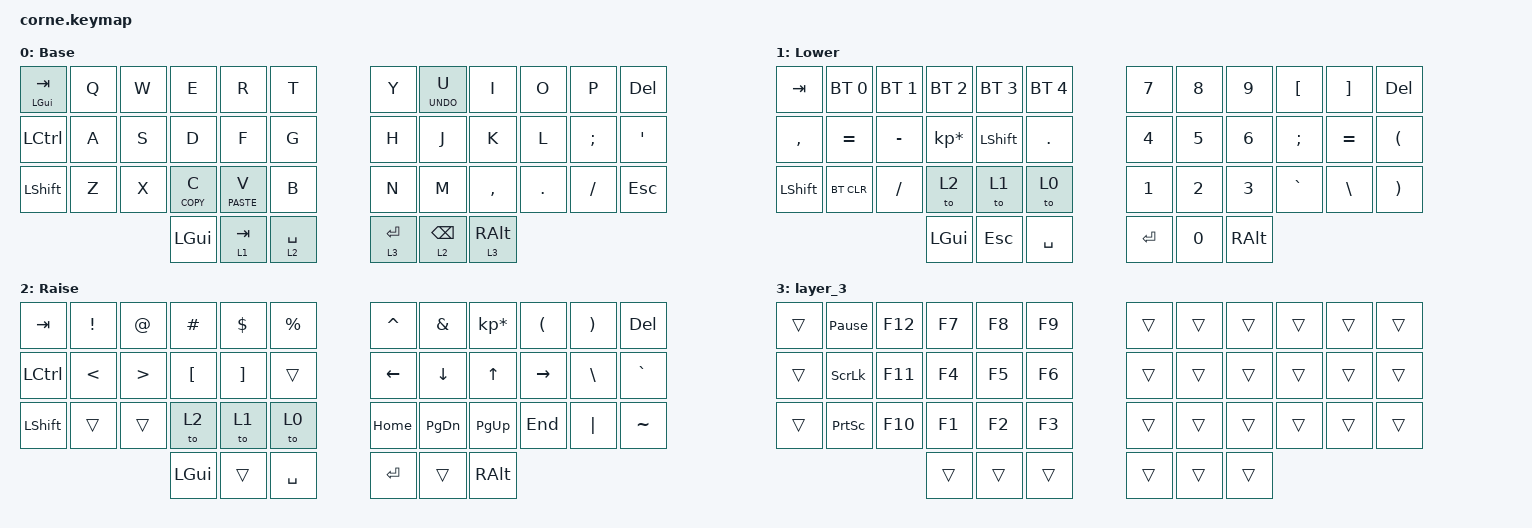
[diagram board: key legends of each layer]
/*
 * Copyright (c) 2020 The ZMK Contributors
 *
 * SPDX-License-Identifier: MIT
 */

#include <behaviors.dtsi>
#include <dt-bindings/zmk/bt.h>
#include <dt-bindings/zmk/keys.h>

&mt {
    flavor = "tap-preferred";
};

&lt {
};

/ {
    keymap {
        compatible = "zmk,keymap";

        default_layer {
            // -----------------------------------------------------------------------------------------
            // |  TAB |  Q  |  W  |  E  |  R  |  T  |   |  Y  |  U   |  I  |  O  |  P  | BKSP |
            // | CTRL |  A  |  S  |  D  |  F  |  G  |   |  H  |  J   |  K  |  L  |  ;  |  '   |
            // | SHFT |  Z  |  X  |  C  |  V  |  B  |   |  N  |  M   |  ,  |  .  |  /  | ESC  |
            //                    | GUI | LWR | SPC |   | ENT | RSE  | ALT |

            label = "Base";
            bindings = <
&mt LGUI TAB  &kp Q  &kp W  &kp E         &kp R          &kp T          &kp Y         &mt K_UNDO U     &kp I       &kp O    &kp P     &kp DELETE
&kp LCTRL     &kp A  &kp S  &kp D         &kp F          &kp G          &kp H         &kp J            &kp K       &kp L    &kp SEMI  &kp SQT
&kp LSHFT     &kp Z  &kp X  &mt K_COPY C  &mt K_PASTE V  &kp B          &kp N         &kp M            &kp COMMA   &kp DOT  &kp FSLH  &kp ESC
                            &kp LGUI      &lt 1 TAB      &lt 2 SPACE    &lt 3 RETURN  &lt 2 BACKSPACE  &lt 3 RALT
            >;
        };

        lower_layer {
            // -----------------------------------------------------------------------------------------
            // |  TAB |  1  |  2  |  3  |  4  |  5  |   |  6  |  7  |  8  |  9  |  0  | BKSP |
            // | BTCLR| BT1 | BT2 | BT3 | BT4 | BT5 |   | LFT | DWN |  UP | RGT |     |      |
            // | SHFT |     |     |     |     |     |   |     |     |     |     |     |      |
            //                    | GUI |     | SPC |   | ENT |     | ALT |

            label = "Lower";
            bindings = <
&kp TAB    &bt BT_SEL 0  &bt BT_SEL 1  &bt BT_SEL 2     &bt BT_SEL 3    &bt BT_SEL 4    &kp N7   &kp N8  &kp N9    &kp LEFT_BRACKET  &kp RIGHT_BRACKET  &kp DELETE
&kp COMMA  &kp EQUAL     &kp MINUS     &kp KP_MULTIPLY  &kp LEFT_SHIFT  &kp PERIOD      &kp N4   &kp N5  &kp N6    &kp SEMICOLON     &kp EQUAL          &kp LEFT_PARENTHESIS
&kp LSHFT  &bt BT_CLR    &kp SLASH     &to 2            &to 1           &to 0           &kp N1   &kp N2  &kp N3    &kp GRAVE         &kp BACKSLASH      &kp RIGHT_PARENTHESIS
                                       &kp LGUI         &kp ESC         &kp SPACE       &kp RET  &kp N0  &kp RALT
            >;
        };

        raise_layer {
            // -----------------------------------------------------------------------------------------
            // |  TAB |  !  |  @  |  #  |  $  |  %  |   |  ^  |  &  |  *  |  (  |  )  | BKSP |
            // | CTRL |     |     |     |     |     |   |  -  |  =  |  [  |  ]  |  \  |  `   |
            // | SHFT |     |     |     |     |     |   |  _  |  +  |  {  |  }  | "|" |  ~   |
            //                    | GUI |     | SPC |   | ENT |     | ALT |

            label = "Raise";
            bindings = <
&kp TAB    &kp EXCL       &kp AT            &kp HASH          &kp DLLR           &kp PRCNT    &kp CARET  &kp AMPS       &kp KP_MULTIPLY  &kp LPAR   &kp RPAR  &kp DELETE
&kp LCTRL  &kp LESS_THAN  &kp GREATER_THAN  &kp LEFT_BRACKET  &kp RIGHT_BRACKET  &trans       &kp LEFT   &kp DOWN       &kp UP           &kp RIGHT  &kp BSLH  &kp GRAVE
&kp LSHFT  &trans         &trans            &to 2             &to 1              &to 0        &kp HOME   &kp PAGE_DOWN  &kp PAGE_UP      &kp END    &kp PIPE  &kp TILDE
                                            &kp LGUI          &trans             &kp SPACE    &kp RET    &trans         &kp RALT
            >;
        };

        layer_3 {
            bindings = <
&trans  &kp PAUSE_BREAK  &kp F12  &kp F7  &kp F8  &kp F9    &trans  &trans  &trans  &trans  &trans  &trans
&trans  &kp SCROLLLOCK   &kp F11  &kp F4  &kp F5  &kp F6    &trans  &trans  &trans  &trans  &trans  &trans
&trans  &kp PRINTSCREEN  &kp F10  &kp F1  &kp F2  &kp F3    &trans  &trans  &trans  &trans  &trans  &trans
                                  &trans  &trans  &trans    &trans  &trans  &trans
            >;
        };
    };
};
